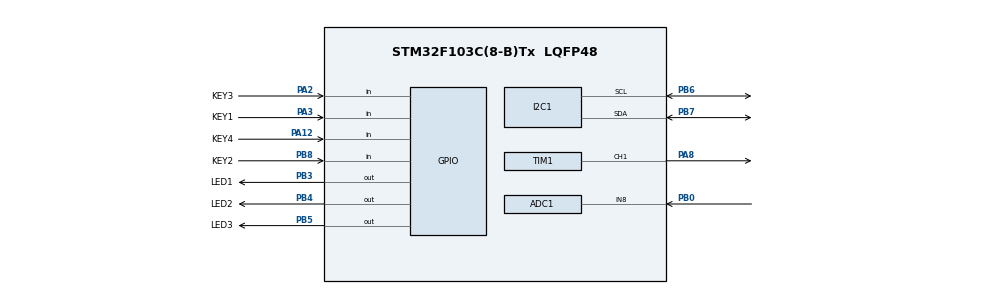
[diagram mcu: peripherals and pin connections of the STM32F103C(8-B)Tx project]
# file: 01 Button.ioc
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ADC1.Channel-0\#ChannelRegularConversion=ADC_CHANNEL_8
ADC1.NbrOfConversionFlag=1
ADC1.Rank-0\#ChannelRegularConversion=1
ADC1.SamplingTime-0\#ChannelRegularConversion=ADC_SAMPLETIME_1CYCLE_5
ADC1.master=1
Mcu.Family=STM32F1
Mcu.Name=STM32F103C(8-B)Tx
Mcu.Package=LQFP48
NVIC.PriorityGroup=NVIC_PRIORITYGROUP_4
PA12.GPIO_Label=KEY4
PA12.GPIO_PuPd=GPIO_PULLUP
PA12.Signal=GPIO_Input
PA13.Mode=Serial_Wire
PA13.Signal=SYS_JTMS-SWDIO
PA14.Mode=Serial_Wire
PA14.Signal=SYS_JTCK-SWCLK
PA2.GPIO_Label=KEY3
PA2.GPIO_PuPd=GPIO_PULLUP
PA2.Signal=GPIO_Input
PA3.GPIO_Label=KEY1
PA3.GPIO_PuPd=GPIO_PULLUP
PA3.Signal=GPIO_Input
PA8.Signal=S_TIM1_CH1
PB0.Signal=ADCx_IN8
PB3.GPIO_Label=LED1
PB3.PinState=GPIO_PIN_RESET
PB3.Signal=GPIO_Output
PB4.GPIO_Label=LED2
PB4.Signal=GPIO_Output
PB5.GPIO_Label=LED3
PB5.Signal=GPIO_Output
PB6.Mode=I2C
PB6.Signal=I2C1_SCL
PB7.Mode=I2C
PB7.Signal=I2C1_SDA
PB8.GPIO_Label=KEY2
PB8.GPIO_PuPd=GPIO_PULLUP
PB8.Signal=GPIO_Input
PD0-OSC_IN.Mode=HSE-External-Oscillator
PD0-OSC_IN.Signal=RCC_OSC_IN
PD1-OSC_OUT.Mode=HSE-External-Oscillator
PD1-OSC_OUT.Signal=RCC_OSC_OUT
ProjectManager.HeapSize=0x200
ProjectManager.StackSize=0x400
ProjectManager.TargetToolchain=STM32CubeIDE
RCC.APB1Freq_Value=8000000
RCC.APB2Freq_Value=8000000
SH.ADCx_IN8.0=ADC1_IN8,IN8
SH.S_TIM1_CH1.0=TIM1_CH1,PWM Generation1 CH1
TIM1.Channel-PWM\ Generation1\ CH1=TIM_CHANNEL_1
board=custom

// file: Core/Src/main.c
/* USER CODE BEGIN Header */
/**
 ******************************************************************************
 * @file           : main.c
 * @brief          : Main program body
 ******************************************************************************
 * @attention
 *
 * Copyright (c) 2023 STMicroelectronics.
 * All rights reserved.
 *
 * This software is licensed under terms that can be found in the LICENSE file
 * in the root directory of this software component.
 * If no LICENSE file comes with this software, it is provided AS-IS.
 *
 ******************************************************************************
 */
/* USER CODE END Header */
#include "main.h"

/// button structure
typedef struct
{
	uint16_t PIN;
	uint8_t StateFlag;
	GPIO_TypeDef *PORT;
} button;
/* USER CODE END PTD */

/* USER CODE BEGIN PD */
#define FALSE 0
#define TRUE !FALSE
/* USER CODE END PD */

ADC_HandleTypeDef hadc1;

I2C_HandleTypeDef hi2c1;

TIM_HandleTypeDef htim1;

void SystemClock_Config(void);
static void MX_GPIO_Init(void);
static void MX_I2C1_Init(void);
static void MX_ADC1_Init(void);
static void MX_TIM1_Init(void);

/* USER CODE BEGIN 0 */
//button checking function
uint8_t Button_Check(button BTN)
{
	if (!HAL_GPIO_ReadPin(BTN.PORT, BTN.PIN) && !BTN.StateFlag)
	{
		BTN.StateFlag = TRUE;
		return TRUE;
	}
	else if (HAL_GPIO_ReadPin(BTN.PORT, BTN.PIN) && BTN.StateFlag)
	{
		BTN.StateFlag = FALSE;
		return FALSE;
	}
	return FALSE;
}
/* USER CODE END 0 */

int main(void)
{
	/* USER CODE BEGIN 1 */
	//defining our buttons
	button KEY1;
	button KEY2;
	button KEY3;
	/* USER CODE END 1 */

	/* MCU Configuration--------------------------------------------------------*/

	/* Reset of all peripherals, Initializes the Flash interface and the Systick. */
	HAL_Init();

	/* Configure the system clock */
	SystemClock_Config();

	/* USER CODE BEGIN SysInit */
	//wiring buttons to their pins
	KEY1.PIN = KEY1_Pin;
	KEY1.PORT = KEY1_GPIO_Port;
	KEY1.StateFlag = 0;

	KEY2.PIN = KEY2_Pin;
	KEY2.PORT = KEY2_GPIO_Port;
	KEY2.StateFlag = 0;

	KEY3.PIN = KEY3_Pin;
	KEY3.PORT = KEY3_GPIO_Port;
	KEY3.StateFlag = 0;
	/* USER CODE END SysInit */

	/* Initialize all configured peripherals */
	MX_GPIO_Init();
	MX_I2C1_Init();
	MX_ADC1_Init();
	MX_TIM1_Init();
	/* USER CODE BEGIN 2 */
	//setting flag for each pin
	GPIO_PinState LED1FLAG = GPIO_PIN_SET;
	GPIO_PinState LED2FLAG = GPIO_PIN_SET;
	GPIO_PinState LED3FLAG = GPIO_PIN_SET;

	/* USER CODE END 2 */

	/* Infinite loop */
	/* USER CODE BEGIN WHILE */
	while (1)
	{
		//checking each button if it was pressed change corresponding led state
		if (Button_Check(KEY1))
		{
			(LED1FLAG == GPIO_PIN_SET) ?
					(LED1FLAG = GPIO_PIN_RESET) : (LED1FLAG = GPIO_PIN_SET);
		}
		if (Button_Check(KEY2))
		{
			(LED2FLAG == GPIO_PIN_SET) ?
					(LED2FLAG = GPIO_PIN_RESET) : (LED2FLAG = GPIO_PIN_SET);
		}

		if (Button_Check(KEY3))
		{
			(LED3FLAG == GPIO_PIN_SET) ?
					(LED3FLAG = GPIO_PIN_RESET) : (LED3FLAG = GPIO_PIN_SET);
		}
		HAL_GPIO_WritePin(LED1_GPIO_Port, LED1_Pin, LED1FLAG);
		HAL_GPIO_WritePin(LED2_GPIO_Port, LED2_Pin, LED2FLAG);
		HAL_GPIO_WritePin(LED3_GPIO_Port, LED3_Pin, LED3FLAG);

		/* USER CODE END WHILE */

	}
}

void SystemClock_Config(void)
{
	RCC_OscInitTypeDef RCC_OscInitStruct =
	{ 0 };
	RCC_ClkInitTypeDef RCC_ClkInitStruct =
	{ 0 };
	RCC_PeriphCLKInitTypeDef PeriphClkInit =
	{ 0 };

	/** Initializes the RCC Oscillators according to the specified parameters
	 * in the RCC_OscInitTypeDef structure.
	 */
	RCC_OscInitStruct.OscillatorType = RCC_OSCILLATORTYPE_HSI;
	RCC_OscInitStruct.HSIState = RCC_HSI_ON;
	RCC_OscInitStruct.HSICalibrationValue = RCC_HSICALIBRATION_DEFAULT;
	RCC_OscInitStruct.PLL.PLLState = RCC_PLL_NONE;
	if (HAL_RCC_OscConfig(&RCC_OscInitStruct) != HAL_OK)
	{
		Error_Handler();
	}

	/** Initializes the CPU, AHB and APB buses clocks
	 */
	RCC_ClkInitStruct.ClockType = RCC_CLOCKTYPE_HCLK | RCC_CLOCKTYPE_SYSCLK
			| RCC_CLOCKTYPE_PCLK1 | RCC_CLOCKTYPE_PCLK2;
	RCC_ClkInitStruct.SYSCLKSource = RCC_SYSCLKSOURCE_HSI;
	RCC_ClkInitStruct.AHBCLKDivider = RCC_SYSCLK_DIV1;
	RCC_ClkInitStruct.APB1CLKDivider = RCC_HCLK_DIV1;
	RCC_ClkInitStruct.APB2CLKDivider = RCC_HCLK_DIV1;

	if (HAL_RCC_ClockConfig(&RCC_ClkInitStruct, FLASH_LATENCY_0) != HAL_OK)
	{
		Error_Handler();
	}
	PeriphClkInit.PeriphClockSelection = RCC_PERIPHCLK_ADC;
	PeriphClkInit.AdcClockSelection = RCC_ADCPCLK2_DIV2;
	if (HAL_RCCEx_PeriphCLKConfig(&PeriphClkInit) != HAL_OK)
	{
		Error_Handler();
	}
}

static void MX_ADC1_Init(void)
{

	ADC_ChannelConfTypeDef sConfig =
	{ 0 };

	/** Common config
	 */
	hadc1.Instance = ADC1;
	hadc1.Init.ScanConvMode = ADC_SCAN_DISABLE;
	hadc1.Init.ContinuousConvMode = DISABLE;
	hadc1.Init.DiscontinuousConvMode = DISABLE;
	hadc1.Init.ExternalTrigConv = ADC_SOFTWARE_START;
	hadc1.Init.DataAlign = ADC_DATAALIGN_RIGHT;
	hadc1.Init.NbrOfConversion = 1;
	if (HAL_ADC_Init(&hadc1) != HAL_OK)
	{
		Error_Handler();
	}

	/** Configure Regular Channel
	 */
	sConfig.Channel = ADC_CHANNEL_8;
	sConfig.Rank = ADC_REGULAR_RANK_1;
	sConfig.SamplingTime = ADC_SAMPLETIME_1CYCLE_5;
	if (HAL_ADC_ConfigChannel(&hadc1, &sConfig) != HAL_OK)
	{
		Error_Handler();
	}

}

static void MX_I2C1_Init(void)
{

	hi2c1.Instance = I2C1;
	hi2c1.Init.ClockSpeed = 100000;
	hi2c1.Init.DutyCycle = I2C_DUTYCYCLE_2;
	hi2c1.Init.OwnAddress1 = 0;
	hi2c1.Init.AddressingMode = I2C_ADDRESSINGMODE_7BIT;
	hi2c1.Init.DualAddressMode = I2C_DUALADDRESS_DISABLE;
	hi2c1.Init.OwnAddress2 = 0;
	hi2c1.Init.GeneralCallMode = I2C_GENERALCALL_DISABLE;
	hi2c1.Init.NoStretchMode = I2C_NOSTRETCH_DISABLE;
	if (HAL_I2C_Init(&hi2c1) != HAL_OK)
	{
		Error_Handler();
	}

}

static void MX_TIM1_Init(void)
{

	TIM_MasterConfigTypeDef sMasterConfig =
	{ 0 };
	TIM_OC_InitTypeDef sConfigOC =
	{ 0 };
	TIM_BreakDeadTimeConfigTypeDef sBreakDeadTimeConfig =
	{ 0 };

	htim1.Instance = TIM1;
	htim1.Init.Prescaler = 0;
	htim1.Init.CounterMode = TIM_COUNTERMODE_UP;
	htim1.Init.Period = 65535;
	htim1.Init.ClockDivision = TIM_CLOCKDIVISION_DIV1;
	htim1.Init.RepetitionCounter = 0;
	htim1.Init.AutoReloadPreload = TIM_AUTORELOAD_PRELOAD_DISABLE;
	if (HAL_TIM_PWM_Init(&htim1) != HAL_OK)
	{
		Error_Handler();
	}
	sMasterConfig.MasterOutputTrigger = TIM_TRGO_RESET;
	sMasterConfig.MasterSlaveMode = TIM_MASTERSLAVEMODE_DISABLE;
	if (HAL_TIMEx_MasterConfigSynchronization(&htim1, &sMasterConfig) != HAL_OK)
	{
		Error_Handler();
	}
	sConfigOC.OCMode = TIM_OCMODE_PWM1;
	sConfigOC.Pulse = 0;
	sConfigOC.OCPolarity = TIM_OCPOLARITY_HIGH;
	sConfigOC.OCNPolarity = TIM_OCNPOLARITY_HIGH;
	sConfigOC.OCFastMode = TIM_OCFAST_DISABLE;
	sConfigOC.OCIdleState = TIM_OCIDLESTATE_RESET;
	sConfigOC.OCNIdleState = TIM_OCNIDLESTATE_RESET;
	if (HAL_TIM_PWM_ConfigChannel(&htim1, &sConfigOC, TIM_CHANNEL_1) != HAL_OK)
	{
		Error_Handler();
	}
	sBreakDeadTimeConfig.OffStateRunMode = TIM_OSSR_DISABLE;
	sBreakDeadTimeConfig.OffStateIDLEMode = TIM_OSSI_DISABLE;
	sBreakDeadTimeConfig.LockLevel = TIM_LOCKLEVEL_OFF;
	sBreakDeadTimeConfig.DeadTime = 0;
	sBreakDeadTimeConfig.BreakState = TIM_BREAK_DISABLE;
	sBreakDeadTimeConfig.BreakPolarity = TIM_BREAKPOLARITY_HIGH;
	sBreakDeadTimeConfig.AutomaticOutput = TIM_AUTOMATICOUTPUT_DISABLE;
	if (HAL_TIMEx_ConfigBreakDeadTime(&htim1, &sBreakDeadTimeConfig) != HAL_OK)
	{
		Error_Handler();
	}
	HAL_TIM_MspPostInit(&htim1);

}

static void MX_GPIO_Init(void)
{
	GPIO_InitTypeDef GPIO_InitStruct =
	{ 0 };

	/* GPIO Ports Clock Enable */
	__HAL_RCC_GPIOD_CLK_ENABLE();
	__HAL_RCC_GPIOA_CLK_ENABLE();
	__HAL_RCC_GPIOB_CLK_ENABLE();

	/*Configure GPIO pin Output Level */
	HAL_GPIO_WritePin(GPIOB, LED1_Pin | LED2_Pin | LED3_Pin, GPIO_PIN_RESET);

	/*Configure GPIO pins : KEY3_Pin KEY1_Pin KEY4_Pin */
	GPIO_InitStruct.Pin = KEY3_Pin | KEY1_Pin | KEY4_Pin;
	GPIO_InitStruct.Mode = GPIO_MODE_INPUT;
	GPIO_InitStruct.Pull = GPIO_PULLUP;
	HAL_GPIO_Init(GPIOA, &GPIO_InitStruct);

	/*Configure GPIO pins : LED1_Pin LED2_Pin LED3_Pin */
	GPIO_InitStruct.Pin = LED1_Pin | LED2_Pin | LED3_Pin;
	GPIO_InitStruct.Mode = GPIO_MODE_OUTPUT_PP;
	GPIO_InitStruct.Pull = GPIO_NOPULL;
	GPIO_InitStruct.Speed = GPIO_SPEED_FREQ_LOW;
	HAL_GPIO_Init(GPIOB, &GPIO_InitStruct);

	/*Configure GPIO pin : KEY2_Pin */
	GPIO_InitStruct.Pin = KEY2_Pin;
	GPIO_InitStruct.Mode = GPIO_MODE_INPUT;
	GPIO_InitStruct.Pull = GPIO_PULLUP;
	HAL_GPIO_Init(KEY2_GPIO_Port, &GPIO_InitStruct);

}

void Error_Handler(void)
{
	__disable_irq();
	while (1)
	{
	}
}
